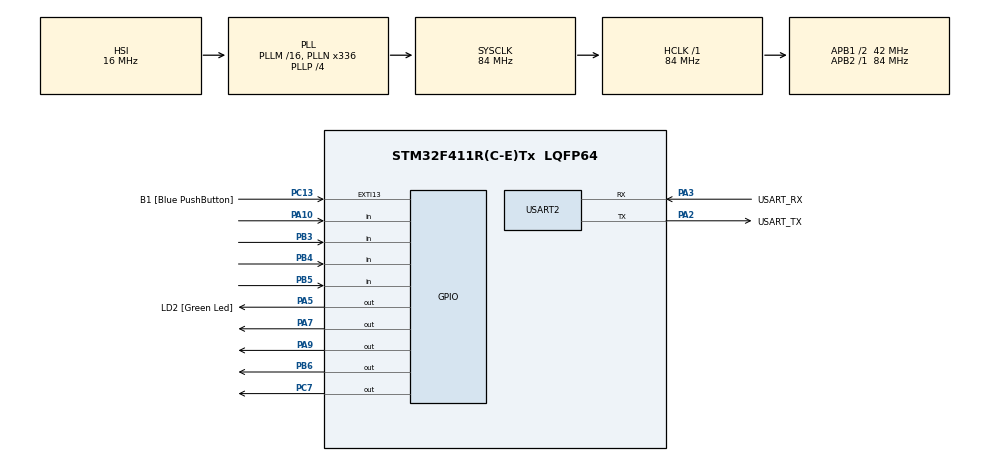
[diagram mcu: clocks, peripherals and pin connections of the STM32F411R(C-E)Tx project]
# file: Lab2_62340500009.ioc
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Mcu.Family=STM32F4
Mcu.Name=STM32F411R(C-E)Tx
Mcu.Package=LQFP64
NVIC.PriorityGroup=NVIC_PRIORITYGROUP_0
PA10.GPIO_PuPd=GPIO_PULLUP
PA10.Signal=GPIO_Input
PA13.GPIO_Label=TMS
PA13.Mode=Serial_Wire
PA13.Signal=SYS_JTMS-SWDIO
PA14.GPIO_Label=TCK
PA14.Mode=Serial_Wire
PA14.Signal=SYS_JTCK-SWCLK
PA2.GPIO_Label=USART_TX
PA2.Mode=Asynchronous
PA2.Signal=USART2_TX
PA3.GPIO_Label=USART_RX
PA3.Mode=Asynchronous
PA3.Signal=USART2_RX
PA5.GPIO_Label=LD2 [Green Led]
PA5.Signal=GPIO_Output
PA7.GPIO_ModeDefaultOutputPP=GPIO_MODE_OUTPUT_OD
PA7.PinState=GPIO_PIN_SET
PA7.Signal=GPIO_Output
PA9.GPIO_ModeDefaultOutputPP=GPIO_MODE_OUTPUT_OD
PA9.PinState=GPIO_PIN_SET
PA9.Signal=GPIO_Output
PB3.GPIO_PuPd=GPIO_PULLUP
PB3.Signal=GPIO_Input
PB4.GPIO_PuPd=GPIO_PULLUP
PB4.Signal=GPIO_Input
PB5.GPIO_PuPd=GPIO_PULLUP
PB5.Signal=GPIO_Input
PB6.GPIO_ModeDefaultOutputPP=GPIO_MODE_OUTPUT_OD
PB6.PinState=GPIO_PIN_SET
PB6.Signal=GPIO_Output
PC13-ANTI_TAMP.GPIO_Label=B1 [Blue PushButton]
PC13-ANTI_TAMP.GPIO_ModeDefaultEXTI=GPIO_MODE_IT_FALLING
PC13-ANTI_TAMP.Signal=GPXTI13
PC14-OSC32_IN.Mode=LSE-External-Oscillator
PC14-OSC32_IN.Signal=RCC_OSC32_IN
PC15-OSC32_OUT.Mode=LSE-External-Oscillator
PC15-OSC32_OUT.Signal=RCC_OSC32_OUT
PC7.GPIO_ModeDefaultOutputPP=GPIO_MODE_OUTPUT_OD
PC7.PinState=GPIO_PIN_SET
PC7.Signal=GPIO_Output
PH0\ -\ OSC_IN.Mode=HSE-External-Clock-Source
PH0\ -\ OSC_IN.Signal=RCC_OSC_IN
PH1\ -\ OSC_OUT.Mode=HSE-External-Clock-Source
PH1\ -\ OSC_OUT.Signal=RCC_OSC_OUT
ProjectManager.HeapSize=0x200
ProjectManager.StackSize=0x400
ProjectManager.TargetToolchain=STM32CubeIDE
RCC.48MHZClocksFreq_Value=84000000
RCC.AHBFreq_Value=84000000
RCC.APB1CLKDivider=RCC_HCLK_DIV2
RCC.APB1Freq_Value=42000000
RCC.APB1TimFreq_Value=84000000
RCC.APB2Freq_Value=84000000
RCC.APB2TimFreq_Value=84000000
RCC.CortexFreq_Value=84000000
RCC.FLatency-AdvancedSettings=FLASH_LATENCY_2
RCC.HCLKFreq_Value=84000000
RCC.HSE_VALUE=8000000
RCC.HSI_VALUE=16000000
RCC.PLLN=336
RCC.PLLP=RCC_PLLP_DIV4
RCC.SYSCLKFreq_VALUE=84000000
RCC.SYSCLKSource=RCC_SYSCLKSOURCE_PLLCLK
RCC.VCOOutputFreq_Value=336000000
USART2.VirtualMode=VM_ASYNC
board=NUCLEO-F411RE

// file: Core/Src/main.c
/* USER CODE BEGIN Header */
/**
 ******************************************************************************
 * @file           : main.c
 * @brief          : Main program body
 ******************************************************************************
 * @attention
 *
 * <h2><center>&copy; Copyright (c) 2021 STMicroelectronics.
 * All rights reserved.</center></h2>
 *
 * This software component is licensed by ST under BSD 3-Clause license,
 * the "License"; You may not use this file except in compliance with the
 * License. You may obtain a copy of the License at:
 *                        opensource.org/licenses/BSD-3-Clause
 *
 ******************************************************************************
 */
/* USER CODE END Header */
#include "main.h"

UART_HandleTypeDef huart2;

/* USER CODE BEGIN PV */

uint16_t ButtonMatrixState = 0;
uint32_t ButtonMatrixTimestamp = 0;
uint32_t Timestamp = 0;
uint32_t Timestamp2 = 0;
GPIO_TypeDef*ID[11] = {0};
uint16_t MY_ID[11] = {6,2,3,4,0,5,0,0,0,0,9};
int number = 0;
int count = 0;
int check = 0;
int OK;
int count_count = 0;
int ON_LED;

/* USER CODE END PV */

void SystemClock_Config(void);
static void MX_GPIO_Init(void);
static void MX_USART2_UART_Init(void);
/* USER CODE BEGIN PFP */
void ButtonMatrixUpdate();
/* USER CODE END PFP */

int main(void)
{

  /* MCU Configuration--------------------------------------------------------*/

  /* Reset of all peripherals, Initializes the Flash interface and the Systick. */
  HAL_Init();

  /* Configure the system clock */
  SystemClock_Config();

  /* Initialize all configured peripherals */
  MX_GPIO_Init();
  MX_USART2_UART_Init();

  /* Infinite loop */
	while (1)
	{

    /* USER CODE BEGIN 3 */
		ButtonMatrixUpdate();

		if (HAL_GetTick() - Timestamp >= 400)
		{
			if (ButtonMatrixState == 4)
			{
				number = 9;
				ID[count] = 9;
				count += 1;
				count_count += 1;
				Timestamp = HAL_GetTick();
			}
			if (ButtonMatrixState == 2)
			{
				number = 8;
				ID[count] = 8;
				count += 1;
				count_count += 1;
				Timestamp = HAL_GetTick();
			}
			if (ButtonMatrixState == 1)
			{
				number = 7;
				ID[count] = 7;
				count += 1;
				count_count += 1;
				Timestamp = HAL_GetTick();
			}
			if (ButtonMatrixState == 64)
			{
				number = 6;
				ID[count] = 6;
				count += 1;
				count_count += 1;
				Timestamp = HAL_GetTick();
			}
			if (ButtonMatrixState == 32)
			{
				number = 5;
				ID[count] = 5;
				count += 1;
				count_count += 1;
				Timestamp = HAL_GetTick();
			}
			if (ButtonMatrixState == 16)
			{
				number = 4;
				ID[count] = 4;
				count += 1;
				count_count += 1;
				Timestamp = HAL_GetTick();
			}
			if (ButtonMatrixState == 1024)
			{
				number = 3;
				ID[count] = 3;
				count += 1;
				count_count += 1;
				Timestamp = HAL_GetTick();
			}
			if (ButtonMatrixState == 512)
			{
				number = 2;
				ID[count] = 2;
				count += 1;
				count_count += 1;
				Timestamp = HAL_GetTick();
			}
			if (ButtonMatrixState == 256)
			{
				number = 1;
				ID[count] = 1;
				count += 1;
				count_count += 1;
				Timestamp = HAL_GetTick();
			}
			if (ButtonMatrixState == 4096)
			{
				number = 0;
				ID[count] = 0;
				count += 1;
				count_count += 1;
				Timestamp = HAL_GetTick();
			}
		}
		if (count > 11)
		{
			check = 0;
			count_count = count;
		}
		if (count_count == 11)
		{
			int i;
			for (i = 0 ; i < 11 ; i += 1)
			{
				if(MY_ID[i] == ID[i])
				{
					check += 1;
				}
				if (check == 11)
				{
					count_count = 0;
				}
			}
		}
		if (check == 11)
		{
			if (HAL_GetTick() - Timestamp2 >= 400)
			{
				if (ButtonMatrixState == 32768)
				{
					ON_LED = 1;
					OK = 1;
					Timestamp2 = HAL_GetTick();
				}
			}
		}
		if (ON_LED == 1)
		{
			check = 0;
			count = 0;
			ID[0] = 0 , ID[1] = 0 , ID[2] = 0 , ID[3] = 0 , ID[4] = 0 , ID[5] = 0
					, ID[6] = 0 , ID[7] = 0 , ID[8] = 0 , ID[9] = 0 , ID[10] = 0;
			HAL_GPIO_WritePin(GPIOA, GPIO_PIN_5, GPIO_PIN_SET);
		}
		if (ButtonMatrixState == 8)
		{
			OK = 0;
			ON_LED = 0;
			count = 0;
			count_count = 0;
			check = 0;
			number = 0;
			ID[0] = 0 , ID[1] = 0 , ID[2] = 0 , ID[3] = 0 , ID[4] = 0 , ID[5] = 0
								, ID[6] = 0 , ID[7] = 0 , ID[8] = 0 , ID[9] = 0 , ID[10] = 0;
			HAL_GPIO_WritePin(GPIOA, GPIO_PIN_5, GPIO_PIN_RESET);
		}
	}
  /* USER CODE END 3 */
}

void SystemClock_Config(void)
{
  RCC_OscInitTypeDef RCC_OscInitStruct = {0};
  RCC_ClkInitTypeDef RCC_ClkInitStruct = {0};

  /** Configure the main internal regulator output voltage
  */
  __HAL_RCC_PWR_CLK_ENABLE();
  __HAL_PWR_VOLTAGESCALING_CONFIG(PWR_REGULATOR_VOLTAGE_SCALE1);
  /** Initializes the RCC Oscillators according to the specified parameters
  * in the RCC_OscInitTypeDef structure.
  */
  RCC_OscInitStruct.OscillatorType = RCC_OSCILLATORTYPE_HSI;
  RCC_OscInitStruct.HSIState = RCC_HSI_ON;
  RCC_OscInitStruct.HSICalibrationValue = RCC_HSICALIBRATION_DEFAULT;
  RCC_OscInitStruct.PLL.PLLState = RCC_PLL_ON;
  RCC_OscInitStruct.PLL.PLLSource = RCC_PLLSOURCE_HSI;
  RCC_OscInitStruct.PLL.PLLM = 16;
  RCC_OscInitStruct.PLL.PLLN = 336;
  RCC_OscInitStruct.PLL.PLLP = RCC_PLLP_DIV4;
  RCC_OscInitStruct.PLL.PLLQ = 4;
  if (HAL_RCC_OscConfig(&RCC_OscInitStruct) != HAL_OK)
  {
    Error_Handler();
  }
  /** Initializes the CPU, AHB and APB buses clocks
  */
  RCC_ClkInitStruct.ClockType = RCC_CLOCKTYPE_HCLK|RCC_CLOCKTYPE_SYSCLK
                              |RCC_CLOCKTYPE_PCLK1|RCC_CLOCKTYPE_PCLK2;
  RCC_ClkInitStruct.SYSCLKSource = RCC_SYSCLKSOURCE_PLLCLK;
  RCC_ClkInitStruct.AHBCLKDivider = RCC_SYSCLK_DIV1;
  RCC_ClkInitStruct.APB1CLKDivider = RCC_HCLK_DIV2;
  RCC_ClkInitStruct.APB2CLKDivider = RCC_HCLK_DIV1;

  if (HAL_RCC_ClockConfig(&RCC_ClkInitStruct, FLASH_LATENCY_2) != HAL_OK)
  {
    Error_Handler();
  }
}

static void MX_USART2_UART_Init(void)
{

  huart2.Instance = USART2;
  huart2.Init.BaudRate = 115200;
  huart2.Init.WordLength = UART_WORDLENGTH_8B;
  huart2.Init.StopBits = UART_STOPBITS_1;
  huart2.Init.Parity = UART_PARITY_NONE;
  huart2.Init.Mode = UART_MODE_TX_RX;
  huart2.Init.HwFlowCtl = UART_HWCONTROL_NONE;
  huart2.Init.OverSampling = UART_OVERSAMPLING_16;
  if (HAL_UART_Init(&huart2) != HAL_OK)
  {
    Error_Handler();
  }

}

static void MX_GPIO_Init(void)
{
  GPIO_InitTypeDef GPIO_InitStruct = {0};

  /* GPIO Ports Clock Enable */
  __HAL_RCC_GPIOC_CLK_ENABLE();
  __HAL_RCC_GPIOH_CLK_ENABLE();
  __HAL_RCC_GPIOA_CLK_ENABLE();
  __HAL_RCC_GPIOB_CLK_ENABLE();

  /*Configure GPIO pin Output Level */
  HAL_GPIO_WritePin(LD2_GPIO_Port, LD2_Pin, GPIO_PIN_RESET);

  /*Configure GPIO pin Output Level */
  HAL_GPIO_WritePin(GPIOA, GPIO_PIN_7|GPIO_PIN_9, GPIO_PIN_SET);

  /*Configure GPIO pin Output Level */
  HAL_GPIO_WritePin(GPIOC, GPIO_PIN_7, GPIO_PIN_SET);

  /*Configure GPIO pin Output Level */
  HAL_GPIO_WritePin(GPIOB, GPIO_PIN_6, GPIO_PIN_SET);

  /*Configure GPIO pin : B1_Pin */
  GPIO_InitStruct.Pin = B1_Pin;
  GPIO_InitStruct.Mode = GPIO_MODE_IT_FALLING;
  GPIO_InitStruct.Pull = GPIO_NOPULL;
  HAL_GPIO_Init(B1_GPIO_Port, &GPIO_InitStruct);

  /*Configure GPIO pin : LD2_Pin */
  GPIO_InitStruct.Pin = LD2_Pin;
  GPIO_InitStruct.Mode = GPIO_MODE_OUTPUT_PP;
  GPIO_InitStruct.Pull = GPIO_NOPULL;
  GPIO_InitStruct.Speed = GPIO_SPEED_FREQ_LOW;
  HAL_GPIO_Init(LD2_GPIO_Port, &GPIO_InitStruct);

  /*Configure GPIO pins : PA7 PA9 */
  GPIO_InitStruct.Pin = GPIO_PIN_7|GPIO_PIN_9;
  GPIO_InitStruct.Mode = GPIO_MODE_OUTPUT_OD;
  GPIO_InitStruct.Pull = GPIO_NOPULL;
  GPIO_InitStruct.Speed = GPIO_SPEED_FREQ_LOW;
  HAL_GPIO_Init(GPIOA, &GPIO_InitStruct);

  /*Configure GPIO pin : PC7 */
  GPIO_InitStruct.Pin = GPIO_PIN_7;
  GPIO_InitStruct.Mode = GPIO_MODE_OUTPUT_OD;
  GPIO_InitStruct.Pull = GPIO_NOPULL;
  GPIO_InitStruct.Speed = GPIO_SPEED_FREQ_LOW;
  HAL_GPIO_Init(GPIOC, &GPIO_InitStruct);

  /*Configure GPIO pin : PA10 */
  GPIO_InitStruct.Pin = GPIO_PIN_10;
  GPIO_InitStruct.Mode = GPIO_MODE_INPUT;
  GPIO_InitStruct.Pull = GPIO_PULLUP;
  HAL_GPIO_Init(GPIOA, &GPIO_InitStruct);

  /*Configure GPIO pins : PB3 PB4 PB5 */
  GPIO_InitStruct.Pin = GPIO_PIN_3|GPIO_PIN_4|GPIO_PIN_5;
  GPIO_InitStruct.Mode = GPIO_MODE_INPUT;
  GPIO_InitStruct.Pull = GPIO_PULLUP;
  HAL_GPIO_Init(GPIOB, &GPIO_InitStruct);

  /*Configure GPIO pin : PB6 */
  GPIO_InitStruct.Pin = GPIO_PIN_6;
  GPIO_InitStruct.Mode = GPIO_MODE_OUTPUT_OD;
  GPIO_InitStruct.Pull = GPIO_NOPULL;
  GPIO_InitStruct.Speed = GPIO_SPEED_FREQ_LOW;
  HAL_GPIO_Init(GPIOB, &GPIO_InitStruct);

}

/* USER CODE BEGIN 4 */
GPIO_TypeDef *ButtonMatrixPort[8] = { GPIOA, GPIOB, GPIOB, GPIOB, GPIOA, GPIOC,
GPIOB, GPIOA };
uint16_t ButtonMatrixPin[8] = { GPIO_PIN_10, GPIO_PIN_3, GPIO_PIN_5, GPIO_PIN_4,
GPIO_PIN_9, GPIO_PIN_7, GPIO_PIN_6, GPIO_PIN_7 };
uint8_t ButtonMatrixRow = 0;

void ButtonMatrixUpdate() {
	if (HAL_GetTick() - ButtonMatrixTimestamp >= 50) {
		ButtonMatrixTimestamp = HAL_GetTick();
		int i;
		for (i = 0; i < 4; ++i) {
			GPIO_PinState Pinstate = HAL_GPIO_ReadPin(ButtonMatrixPort[i],
					ButtonMatrixPin[i]);
			if (Pinstate == GPIO_PIN_RESET) {
				ButtonMatrixState |= (uint16_t)0x1 << (i + ButtonMatrixRow * 4);
			} else {
				ButtonMatrixState &=
						~((uint16_t)0x1 << (i + ButtonMatrixRow * 4));
			}
		}
		uint8_t NowOutputPin = ButtonMatrixRow + 4;
		HAL_GPIO_WritePin(ButtonMatrixPort[NowOutputPin],ButtonMatrixPin[NowOutputPin], GPIO_PIN_SET);
		ButtonMatrixRow = (ButtonMatrixRow + 1) % 4;

		uint8_t NextOutputPin = ButtonMatrixRow + 4;
		HAL_GPIO_WritePin(ButtonMatrixPort[NextOutputPin],ButtonMatrixPin[NextOutputPin], GPIO_PIN_RESET);

	}
}
/* USER CODE END 4 */

void Error_Handler(void)
{
	__disable_irq();
	while (1) {
	}
}

/************************ (C) COPYRIGHT STMicroelectronics *****END OF FILE****/
